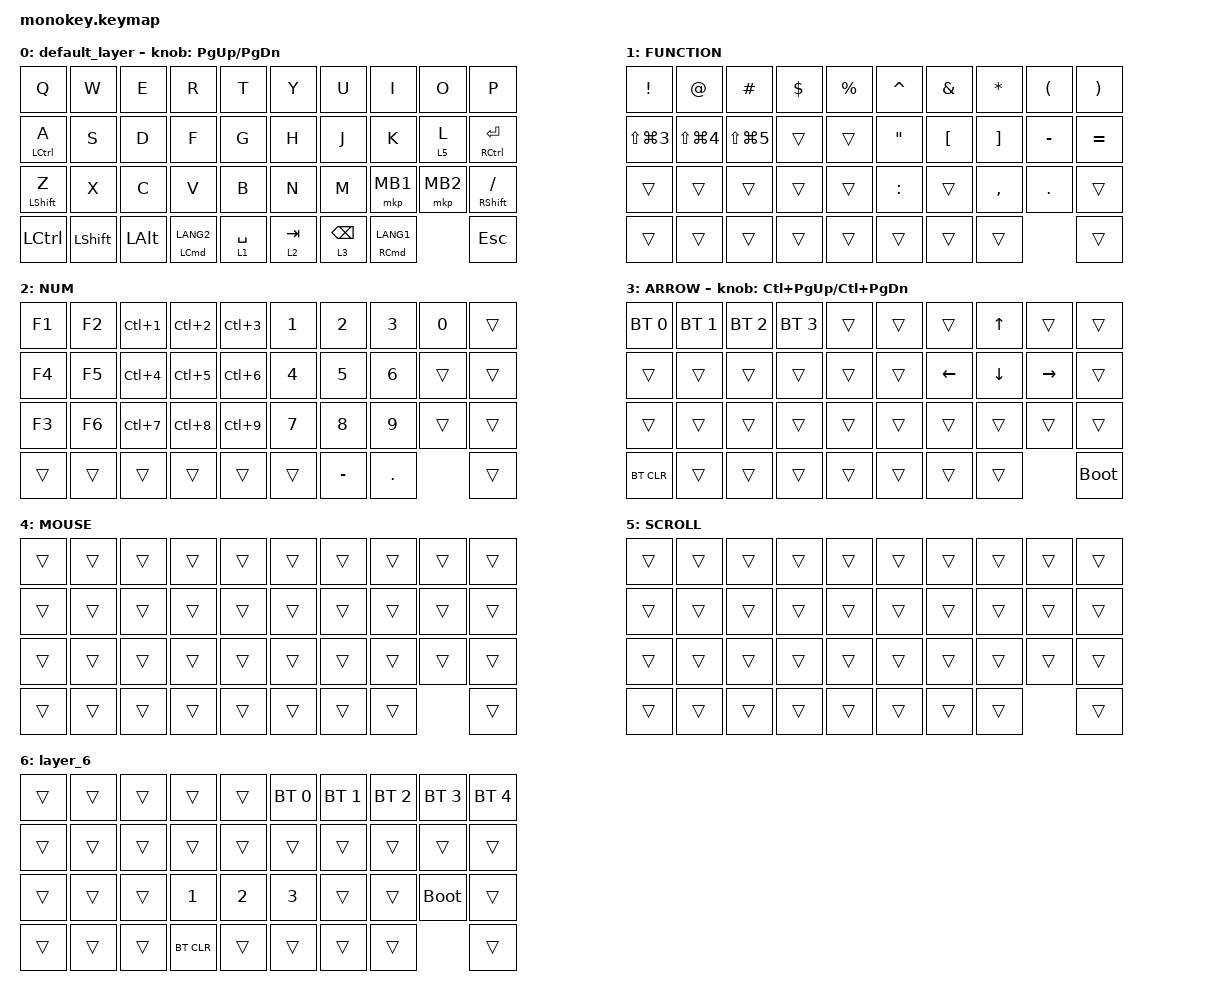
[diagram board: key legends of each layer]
#include <behaviors.dtsi>
#include <dt-bindings/zmk/bt.h>
#include <dt-bindings/zmk/keys.h>
#include <dt-bindings/zmk/pointing.h>

#define MOUSE 4
#define SCROLL 5
#define NUM 6

&mt {
    flavor = "balanced";
    quick-tap-ms = <300>;
};

/ {
    combos {
        compatible = "zmk,combos";

        tab {
            bindings = <&kp TAB>;
            key-positions = <11 12>;
        };

        shift_tab {
            bindings = <&kp LS(TAB)>;
            key-positions = <12 13>;
        };

        muhennkann {
            bindings = <&to_layer_0 INT_MUHENKAN>;
            key-positions = <11 10>;
        };

        double_quotation {
            bindings = <&kp DOUBLE_QUOTES>;
            key-positions = <20 21>;
        };

        eq {
            bindings = <&kp EQUAL>;
            key-positions = <24 25>;
        };
    };

    macros {
        to_layer_0: to_layer_0 {
            compatible = "zmk,behavior-macro-one-param";
            #binding-cells = <1>;
            bindings = <&to 0 &macro_param_1to1 &kp MACRO_PLACEHOLDER>;
            label = "TO_LAYER_0";
        };
    };

    behaviors {
        lt_to_layer_0: lt_to_layer_0 {
            compatible = "zmk,behavior-hold-tap";
            label = "LAYER_TAP_TO_0";
            bindings = <&mo>, <&to_layer_0>;

            #binding-cells = <2>;
            tapping-term-ms = <200>;
        };
    };

    keymap {
        compatible = "zmk,keymap";

        default_layer {
            bindings = <
&kp Q             &kp W           &kp E         &kp R                   &kp T                                &kp Y                       &kp U                    &kp I     &kp O               &kp P
&mt LCTRL A       &kp S           &kp D         &kp F                   &kp G                                &kp H                       &kp J                    &kp K     &lt_to_layer_0 5 L  &mt RCTRL ENTER
&mt LEFT_SHIFT Z  &kp X           &kp C         &kp V                   &kp B                                &kp N                       &kp M                    &mkp MB1  &mkp MB2            &mt RIGHT_SHIFT SLASH
&kp LCTRL         &kp LEFT_SHIFT  &kp LEFT_ALT  &mt LEFT_COMMAND LANG2  &lt 1 SPACE  &lt_to_layer_0 2 TAB    &lt_to_layer_0 3 BACKSPACE  &mt RIGHT_COMMAND LANG1                                &kp ESC
            >;

            sensor-bindings = <&inc_dec_kp PG_UP PAGE_DOWN>;
        };

        FUNCTION {
            bindings = <
&kp EXCLAMATION       &kp AT_SIGN           &kp HASH        &kp DOLLAR  &kp PERCENT            &kp CARET          &kp AMPERSAND     &kp ASTERISK       &kp LEFT_PARENTHESIS  &kp RIGHT_PARENTHESIS
&kp LS(LG(NUMBER_3))  &kp LS(LG(NUMBER_4))  &kp LS(LG(N5))  &trans      &trans                 &kp DOUBLE_QUOTES  &kp LEFT_BRACKET  &kp RIGHT_BRACKET  &kp MINUS             &kp EQUAL
&trans                &trans                &trans          &trans      &trans                 &kp COLON          &trans            &kp COMMA          &kp PERIOD            &trans
&trans                &trans                &trans          &trans      &trans       &trans    &trans             &trans                                                     &trans
            >;
        };

        NUM {
            bindings = <
&kp F1  &kp F2  &kp LC(NUMBER_1)  &kp LC(NUMBER_2)  &kp LC(NUMBER_3)            &kp NUMBER_1  &kp NUMBER_2  &kp NUMBER_3  &kp N0  &trans
&kp F4  &kp F5  &kp LC(NUMBER_4)  &kp LC(N5)        &kp LC(NUMBER_6)            &kp NUMBER_4  &kp N5        &kp NUMBER_6  &trans  &trans
&kp F3  &kp F6  &kp LC(N7)        &kp LC(N8)        &kp LC(N9)                  &kp N7        &kp N8        &kp N9        &trans  &trans
&trans  &trans  &trans            &trans            &trans            &trans    &kp MINUS     &kp PERIOD                          &trans
            >;
        };

        ARROW {
            bindings = <
&bt BT_SEL 0  &bt BT_SEL 1  &bt BT_SEL 2  &bt BT_SEL 3  &trans            &trans  &trans          &kp UP_ARROW    &trans           &trans
&trans        &trans        &trans        &trans        &trans            &trans  &kp LEFT_ARROW  &kp DOWN_ARROW  &kp RIGHT_ARROW  &trans
&trans        &trans        &trans        &trans        &trans            &trans  &trans          &trans          &trans           &trans
&bt BT_CLR    &trans        &trans        &trans        &trans  &trans    &trans  &trans                                           &bootloader
            >;

            sensor-bindings = <&inc_dec_kp LC(PAGE_UP) LC(PAGE_DOWN)>;
        };

        MOUSE {
            bindings = <
&trans  &trans  &trans  &trans  &trans            &trans  &trans  &trans  &trans  &trans
&trans  &trans  &trans  &trans  &trans            &trans  &trans  &trans  &trans  &trans
&trans  &trans  &trans  &trans  &trans            &trans  &trans  &trans  &trans  &trans
&trans  &trans  &trans  &trans  &trans  &trans    &trans  &trans                  &trans
            >;
        };

        SCROLL {
            bindings = <
&trans  &trans  &trans  &trans  &trans            &trans  &trans  &trans  &trans  &trans
&trans  &trans  &trans  &trans  &trans            &trans  &trans  &trans  &trans  &trans
&trans  &trans  &trans  &trans  &trans            &trans  &trans  &trans  &trans  &trans
&trans  &trans  &trans  &trans  &trans  &trans    &trans  &trans                  &trans
            >;
        };

        layer_6 {
            bindings = <
&trans  &trans  &trans  &trans        &trans                  &bt BT_SEL 0  &bt BT_SEL 1  &bt BT_SEL 2  &bt BT_SEL 3  &bt BT_SEL 4
&trans  &trans  &trans  &trans        &trans                  &trans        &trans        &trans        &trans        &trans
&trans  &trans  &trans  &kp NUMBER_1  &kp NUMBER_2            &kp NUMBER_3  &trans        &trans        &bootloader   &trans
&trans  &trans  &trans  &bt BT_CLR    &trans        &trans    &trans        &trans                                    &trans
            >;
        };
    };
};
